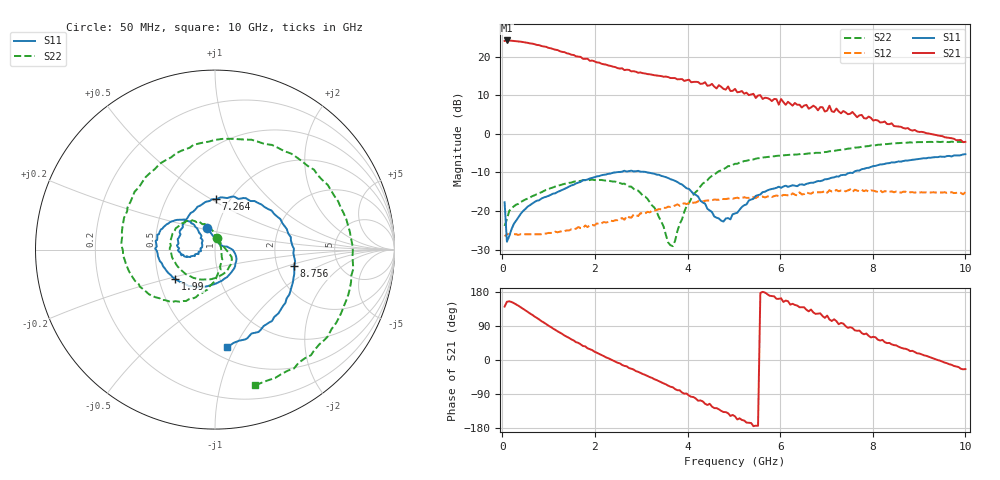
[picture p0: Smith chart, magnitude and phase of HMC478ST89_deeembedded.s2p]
!Hittite Microwave Corporation
!20 Alpha Road
!Chelmsford, MA 01824
!Tel: 978-250-3343
!Fax: 978-250-3373
!Device: HMC478ST89, DC-4 GHz, SiGe HBT Gain Block MMIC Amplifier in SOT89 Package.
!Misc: +5V, Room
# MHZ S MA R 50
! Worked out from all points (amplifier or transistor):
!   201 points, 50 MHz to 10 GHz, reference 50 ohm
!   highest |S21| = 24.3 dB at 99.75 MHz (marker M1)
!   |S21| within 3 dB of that: start of sweep to 1.317 GHz
!   unconditionally stable (mu >= 1): start of sweep to 1.609 GHz; 3.135 GHz to 4.865 GHz; 8.444 GHz to end of sweep (the widest 3 of 10)
!   at 1.692 GHz: K = 1.00, MSG = 22.2 dB, |S12| = -24.4 dB
!   at 5.025 GHz: K = 0.98, MSG = 14.2 dB, |S12| = -16.7 dB
!   at 10 GHz: K = 1.43, MAG = 2.6 dB, |S12| = -15.1 dB
!   S11 on the Smith chart (normalised r, x): 50 MHz: 0.89, +0.22; 1.99 GHz: 0.61, -0.22; 7.264 GHz: 0.86, +0.52; 8.756 GHz: 2.49, -0.57; 10 GHz: 0.60, -0.93
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50  0.13 110.5  16.12 140.9  0.047 -34.3  0.064 80.8
99.75  0.04 56.7  16.32 153.7  0.05 -18.7  0.078 -12.9
199.25  0.058 16.6  16.19 153.2  0.05 -11.6  0.109 -30.4
398.25  0.092 2.0  15.74 139.2  0.05 -10.0  0.131 -56.4
696.75  0.131 -24.0  14.63 114.8  0.05 -11.7  0.16 -91.8
945.5  0.153 -50.5  13.51 95.1  0.051 -13.5  0.188 -117.8
1343.5  0.194 -92.2  11.5 64.6  0.055 -17.1  0.225 -152.7
1741.5  0.25 -125.1  9.442 36.9  0.06 -23.0  0.252 -179.4
1990.25  0.275 -143.3  8.76 21.9  0.065 -28.0  0.252 166.8
2736.5  0.329 174.4  6.771 -21.2  0.083 -49.8  0.208 131.1
3383.25  0.295 149.0  5.663 -56.0  0.106 -67.1  0.083 90.8
3681.75  0.253 138.8  5.316 -72.0  0.115 -77.8  0.035 -3.0
4030  0.194 131.3  5.058 -93.9  0.127 -90.5  0.126 -80.6
4378.25  0.125 132.8  4.687 -115.4  0.136 -105.8  0.237 -103.6
5025  0.093 -172.1  3.842 -148.7  0.147 -132.6  0.41 -136.7
5074.75  0.095 -164.7  3.47 -157.0  0.149 -135.3  0.41 -138.5
5572.25  0.164 -165.4  3.184 176.9  0.152 -154.1  0.487 -163.0
6716.5  0.233 131.6  2.327 125.3  0.175 163.3  0.56 126.7
7263.75  0.28 89.1  1.962 94.4  0.18 140.0  0.618 86.2
8358.25  0.418 12.3  1.339 45.0  0.177 92.9  0.745 15.7
8756.25  0.451 -11.6  1.192 27.5  0.173 77.1  0.772 -5.6
10000  0.546 -83.3  0.79 -24.1  0.175 29.8  0.79 -73.4
